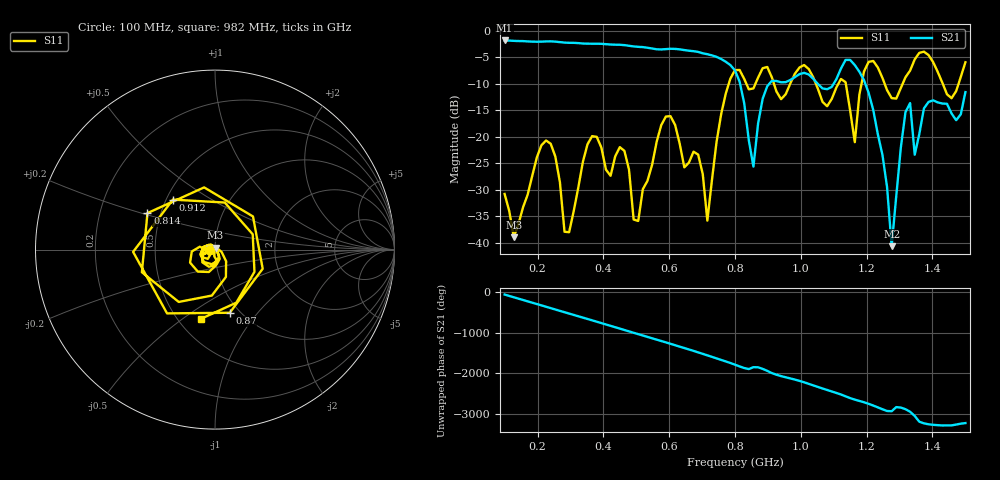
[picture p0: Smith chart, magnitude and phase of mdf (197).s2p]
! NanoVNA-App
! Date: 2025-09-25 15:39:57
! Start: 100MHz Stop: 1,5GHz Points: 101
! S-Parameter data: F S11 S21 S12 S22
# Hz S RI R 50
!  Frequency  S11_Real  S11_Imag  S21_Real  S21_Imag  S12_Real  S12_Imag  S22_Real  S22_Imag
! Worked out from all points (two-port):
!   101 points, 100 MHz to 1.5 GHz, reference 50 ohm
!   highest |S21| = -1.80 dB at 100 MHz (marker M1); lowest = -40.6 dB at 1.276 GHz (marker M2)
!   |S21| within 3 dB of the highest: start of sweep to 739.1 MHz
!   lowest |S11| = -38.9 dB at 128 MHz (marker M3), VSWR 1.02, Z = 50.3 + j1.08 ohm
!   |S11| at or under -10 dB: start of sweep to 781 MHz; 1.046 GHz to 1.114 GHz (68.14 MHz wide, 6.31 % of centre); 1.255 GHz to 1.309 GHz (54.52 MHz wide, 4.25 % of centre) (the widest 3 of 7)
!   S12 and S22 are empty: the file has one direction only
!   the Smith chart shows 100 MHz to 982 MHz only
!   S11 on the Smith chart (normalised r, x): 100 MHz: 0.94, -0.01; 814 MHz: 0.42, +0.21; 870 MHz: 0.90, -0.73; 912 MHz: 0.54, +0.35; 982 MHz: 0.64, -0.59
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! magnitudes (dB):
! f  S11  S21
! 100 MHz  -30.8  -1.8
! 128 MHz  -38.9  -1.9
! 212 MHz  -21.6  -2.0
! 282 MHz  -37.9  -2.2
! 338 MHz  -24.7  -2.4
! 464 MHz  -22.7  -2.7
! 506 MHz  -35.9  -3.0
! 576 MHz  -17.8  -3.5
! 688 MHz  -23.4  -4.0
! 716 MHz  -35.8  -4.4
! 800 MHz  -7.4  -7.5
! 814 MHz  -7.4  -9.6
! 856 MHz  -10.9  -25.6
! 870 MHz  -8.8  -17.6
! 912 MHz  -8.8  -9.4
! 982 MHz  -8.1  -8.7
! 1.038 GHz  -8.8  -9.1
! 1.164 GHz  -21.0  -6.5
! 1.192 GHz  -7.6  -9.3
! 1.276 GHz  -12.7  -40.6
! 1.318 GHz  -8.7  -15.3
! 1.5 GHz  -5.9  -11.6
